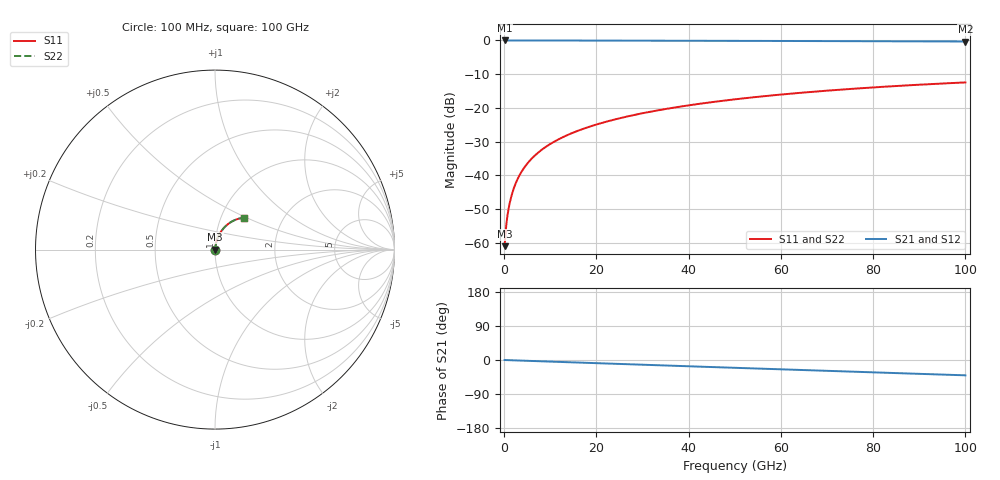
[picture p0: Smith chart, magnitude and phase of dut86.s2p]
! Touchstone file exported from HFSS 2026.1.0
!  File:  C:/ffzhzh/LocalFiles/Ansys_Project_Files/temp_train_RDL_86_1783498867_44152.aedt
!  Generated:  04:22:11 PM Jul  8, 2026
!  Design:  RDL
!  Project:  temp_train_RDL_86_1783498867_44152
! Variables:
!  h_bsmrdl = 2um
!  h_ox = 20um
!  h_rdl = 5um
!  h_sub = 80um
!  h_tmrdl = 2.81um
!  h_tsv = 80um
!  h_via = 3um
!  l_bsmrdl = 300um
!  l_sub = 508.67um
!  l_tmrdl = 108.67um
!  m_sub = 200um
!  pitch = 41.59um
!  r_tsv = 6um
!  s_tmrdl = 10um
!  w_bsmrdl = 18um
!  w_sub = 500um
!  w_tmrdl = 29.02um
!  x_tsv_center1 = 123.18um
!  x_tsv_center2 = 441.18um
!  x_tsv_center3 = 578.87um
!  x_tsv_center4 = 896.87um
!  x_tsv_center5 = 1034.56um
!  x_tsv_center6 = 1352.56um
# GHz S MA R 50.000000
! Terminal data exported
! Port[1] = TM_RDL1_1_T1
! Port[2] = TM_RDL1_1_T2
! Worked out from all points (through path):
!   1000 points, 100 MHz to 100 GHz, reference 50 ohm
!   highest |S21| = -0.01 dB at 100 MHz (marker M1); lowest = -0.3 dB at 100 GHz (marker M2)
!   group delay of S21, straight-line fit = 1.12 ps
!   lowest |S11| = -61.0 dB at 100 MHz (marker M3), VSWR 1.00, Z = 50.1 + j0.0373 ohm
!   |S11| at or under -10 dB: start of sweep to end of sweep
!   |S22| runs from -61.0 to -12.5 dB; largest |S21 - S12| = 3.2e-15
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0.1  0.0008905 24.7  0.9992 -0.0  0.9992 -0.0  0.0008905 24.7
! Gamma 0 0 0 0
! Port Impedance 50 0 50 0
0.4  0.001662 54.9  0.999 -0.2  0.999 -0.2  0.001662 54.9
0.8  0.002744 66.9  0.9989 -0.3  0.9989 -0.3  0.002744 66.9
1  0.003295 70.2  0.9989 -0.4  0.9989 -0.4  0.003295 70.2
1.3  0.004138 73.7  0.9989 -0.6  0.9989 -0.6  0.004138 73.7
1.7  0.005282 76.7  0.9988 -0.7  0.9988 -0.7  0.005282 76.7
2.3  0.00702 79.2  0.9988 -1.0  0.9988 -1.0  0.00702 79.2
2.9  0.008769 80.6  0.9987 -1.2  0.9987 -1.2  0.008769 80.6
3.6  0.01081 81.5  0.9986 -1.5  0.9986 -1.5  0.01081 81.5
4.4  0.01314 82.0  0.9985 -1.9  0.9985 -1.9  0.01314 82.0
5.4  0.01604 82.3  0.9984 -2.3  0.9984 -2.3  0.01604 82.3
6.5  0.01921 82.3  0.9982 -2.8  0.9982 -2.8  0.01921 82.3
9.3  0.02719 81.8  0.9976 -3.9  0.9976 -3.9  0.02719 81.8
12.7  0.03671 80.8  0.9969 -5.4  0.9969 -5.4  0.03671 80.8
16.8  0.04797 79.4  0.9959 -7.1  0.9959 -7.1  0.04797 79.4
24.2  0.06792 76.8  0.9941 -10.1  0.9941 -10.1  0.06791 76.8
33.4  0.09212 73.5  0.9915 -13.9  0.9915 -13.9  0.09212 73.5
41.2  0.1121 70.5  0.9889 -17.1  0.9889 -17.1  0.1121 70.5
50.1  0.1341 67.1  0.9857 -20.7  0.9857 -20.7  0.1341 67.1
66.7  0.1727 60.7  0.979 -27.3  0.979 -27.3  0.1727 60.8
83.4  0.2079 54.3  0.9716 -33.9  0.9716 -33.9  0.2078 54.3
100  0.2385 48.0  0.9641 -40.4  0.9641 -40.4  0.2385 48.0
